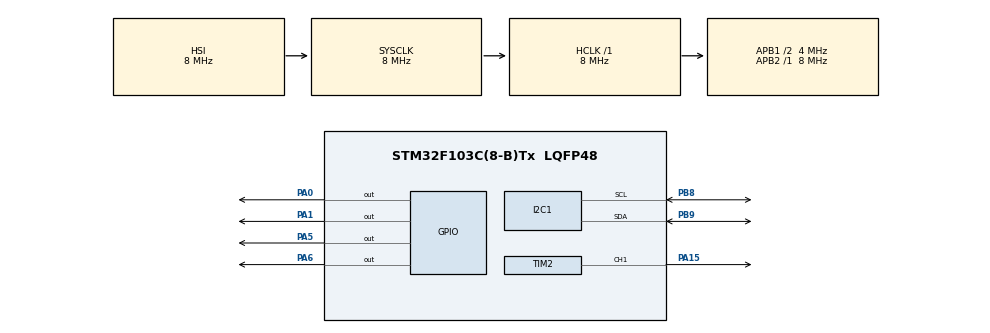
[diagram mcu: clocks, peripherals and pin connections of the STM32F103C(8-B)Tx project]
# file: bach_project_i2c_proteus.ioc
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Mcu.Family=STM32F1
Mcu.Name=STM32F103C(8-B)Tx
Mcu.Package=LQFP48
NVIC.PriorityGroup=NVIC_PRIORITYGROUP_4
PA0-WKUP.GPIO_ModeDefaultOutputPP=GPIO_MODE_OUTPUT_OD
PA0-WKUP.GPIO_PuPd=GPIO_PULLUP
PA0-WKUP.GPIO_Speed=GPIO_SPEED_FREQ_HIGH
PA0-WKUP.PinState=GPIO_PIN_RESET
PA0-WKUP.Signal=GPIO_Output
PA1.GPIO_ModeDefaultOutputPP=GPIO_MODE_OUTPUT_OD
PA1.GPIO_PuPd=GPIO_PULLUP
PA1.GPIO_Speed=GPIO_SPEED_FREQ_HIGH
PA1.PinState=GPIO_PIN_RESET
PA1.Signal=GPIO_Output
PA13.Mode=Serial_Wire
PA13.Signal=SYS_JTMS-SWDIO
PA14.Mode=Serial_Wire
PA14.Signal=SYS_JTCK-SWCLK
PA15.Signal=S_TIM2_CH1_ETR
PA5.GPIO_ModeDefaultOutputPP=GPIO_MODE_OUTPUT_OD
PA5.GPIO_PuPd=GPIO_PULLUP
PA5.GPIO_Speed=GPIO_SPEED_FREQ_HIGH
PA5.PinState=GPIO_PIN_RESET
PA5.Signal=GPIO_Output
PA6.GPIO_ModeDefaultOutputPP=GPIO_MODE_OUTPUT_OD
PA6.GPIO_PuPd=GPIO_PULLUP
PA6.GPIO_Speed=GPIO_SPEED_FREQ_HIGH
PA6.PinState=GPIO_PIN_RESET
PA6.Signal=GPIO_Output
PB8.Mode=I2C
PB8.Signal=I2C1_SCL
PB9.Mode=I2C
PB9.Signal=I2C1_SDA
ProjectManager.HeapSize=0x200
ProjectManager.StackSize=0x400
ProjectManager.TargetToolchain=MDK-ARM V5.32
RCC.AHBFreq_Value=8000000
RCC.APB1CLKDivider=RCC_HCLK_DIV2
RCC.APB1Freq_Value=4000000
RCC.APB1TimFreq_Value=8000000
RCC.APB2Freq_Value=8000000
RCC.APB2TimFreq_Value=8000000
RCC.HCLKFreq_Value=8000000
RCC.SYSCLKFreq_VALUE=8000000
RCC.USBFreq_Value=8000000
SH.S_TIM2_CH1_ETR.0=TIM2_CH1,PWM Generation1 CH1
TIM1.Period=65535
TIM1.Prescaler=7
TIM2.AutoReloadPreload=TIM_AUTORELOAD_PRELOAD_ENABLE
TIM2.Channel-PWM\ Generation1\ CH1=TIM_CHANNEL_1
TIM2.Period=19999
TIM2.Prescaler=7
VP_TIM1_VS_ClockSourceINT.Mode=Internal
board=custom

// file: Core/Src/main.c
/* USER CODE BEGIN Header */
/**
  ******************************************************************************
  * @file           : main.c
  * @brief          : Main program body
  ******************************************************************************
  * @attention
  *
  * Copyright (c) 2025 STMicroelectronics.
  * All rights reserved.
  *
  * This software is licensed under terms that can be found in the LICENSE file
  * in the root directory of this software component.
  * If no LICENSE file comes with this software, it is provided AS-IS.
  *
  ******************************************************************************
  */
/* USER CODE END Header */
#include "main.h"

/* USER CODE BEGIN Includes */
#include "lcd_soft_i2c.h"
#include "ds1307.h"
#include <stdarg.h>
#include <stdio.h>
#include <string.h>
#include "servo.h"
/* USER CODE END Includes */

I2C_HandleTypeDef hi2c1;

TIM_HandleTypeDef htim1;
TIM_HandleTypeDef htim2;

/* USER CODE BEGIN PV */
Soft_I2C_TypeDef i2c_lcd, i2c_rtc;
I2C_LCD_HandleTypedef lcd;
DS1307_Typedef rtc;
Servo_TypeDef servo;
/* USER CODE END PV */

void SystemClock_Config(void);
static void MX_GPIO_Init(void);
static void MX_I2C1_Init(void);
static void MX_TIM1_Init(void);
static void MX_TIM2_Init(void);

/* USER CODE BEGIN 0 */
char buff_line1[20];
char buff_line2[20];
#define SERVO_GPIO_Port GPIOA
#define SERVO_GPIO_Pin  GPIO_PIN_9
void delay_us(uint32_t us){
    uint32_t start = __HAL_TIM_GET_COUNTER(&htim1);
    while ((__HAL_TIM_GET_COUNTER(&htim1) - start) < us);
}

void Servo_WriteAngle(uint8_t angle){
    if(angle > 180) angle = 180;
    uint16_t pulse_us = 1000 + (angle * 1000) / 180; // 1–2 ms

    HAL_GPIO_WritePin(SERVO_GPIO_Port, SERVO_GPIO_Pin, GPIO_PIN_SET);
    delay_us(pulse_us); // HIGH

    HAL_GPIO_WritePin(SERVO_GPIO_Port, SERVO_GPIO_Pin, GPIO_PIN_RESET);
    delay_us(20000 - pulse_us); // LOW
}

/* USER CODE END 0 */

int main(void)
{

  /* MCU Configuration--------------------------------------------------------*/

  /* Reset of all peripherals, Initializes the Flash interface and the Systick. */
  HAL_Init();

  /* Configure the system clock */
  SystemClock_Config();

  /* Initialize all configured peripherals */
  MX_GPIO_Init();
  MX_I2C1_Init();
  MX_TIM1_Init();
  MX_TIM2_Init();
  /* USER CODE BEGIN 2 */
	i2c_soft_init(&i2c_lcd, GPIOA, GPIO_PIN_0, GPIOA, GPIO_PIN_1);
	i2c_soft_init(&i2c_rtc, GPIOA, GPIO_PIN_5, GPIOA, GPIO_PIN_6);

	DS1307_Init(&rtc, &i2c_rtc, DS1307_ADDRESS);
	DS1307_SetTime(&rtc, 1, 20, 00, 19, 11, 25);
	lcd_init(&lcd, &i2c_lcd, 0x27);

	Servo_Init(&servo, &htim2, TIM_CHANNEL_1);
	Servo_Set(&servo, 90);

  /* USER CODE END 2 */

  /* Infinite loop */
  /* USER CODE BEGIN WHILE */
  while (1)
  {
	  DS1307_GetTime(&rtc);
	  sprintf(buff_line1, "%2d:%2d:%2d", rtc.hour, rtc.minute, rtc.second);
	  sprintf(buff_line2, "%2d-%2d-20%2d", rtc.date, rtc.month, rtc.year);
	  lcd_gotoxy(&lcd, 8, 0);
	  lcd_send_string(&lcd, buff_line1);
	  lcd_gotoxy(&lcd, 6, 1);
	  lcd_send_string(&lcd, buff_line2);

    /* USER CODE END WHILE */

  }
}

void SystemClock_Config(void)
{
  RCC_OscInitTypeDef RCC_OscInitStruct = {0};
  RCC_ClkInitTypeDef RCC_ClkInitStruct = {0};

  /** Initializes the RCC Oscillators according to the specified parameters
  * in the RCC_OscInitTypeDef structure.
  */
  RCC_OscInitStruct.OscillatorType = RCC_OSCILLATORTYPE_HSI;
  RCC_OscInitStruct.HSIState = RCC_HSI_ON;
  RCC_OscInitStruct.HSICalibrationValue = RCC_HSICALIBRATION_DEFAULT;
  RCC_OscInitStruct.PLL.PLLState = RCC_PLL_NONE;
  if (HAL_RCC_OscConfig(&RCC_OscInitStruct) != HAL_OK)
  {
    Error_Handler();
  }

  /** Initializes the CPU, AHB and APB buses clocks
  */
  RCC_ClkInitStruct.ClockType = RCC_CLOCKTYPE_HCLK|RCC_CLOCKTYPE_SYSCLK
                              |RCC_CLOCKTYPE_PCLK1|RCC_CLOCKTYPE_PCLK2;
  RCC_ClkInitStruct.SYSCLKSource = RCC_SYSCLKSOURCE_HSI;
  RCC_ClkInitStruct.AHBCLKDivider = RCC_SYSCLK_DIV1;
  RCC_ClkInitStruct.APB1CLKDivider = RCC_HCLK_DIV2;
  RCC_ClkInitStruct.APB2CLKDivider = RCC_HCLK_DIV1;

  if (HAL_RCC_ClockConfig(&RCC_ClkInitStruct, FLASH_LATENCY_0) != HAL_OK)
  {
    Error_Handler();
  }
}

static void MX_I2C1_Init(void)
{

  hi2c1.Instance = I2C1;
  hi2c1.Init.ClockSpeed = 100000;
  hi2c1.Init.DutyCycle = I2C_DUTYCYCLE_2;
  hi2c1.Init.OwnAddress1 = 0;
  hi2c1.Init.AddressingMode = I2C_ADDRESSINGMODE_7BIT;
  hi2c1.Init.DualAddressMode = I2C_DUALADDRESS_DISABLE;
  hi2c1.Init.OwnAddress2 = 0;
  hi2c1.Init.GeneralCallMode = I2C_GENERALCALL_DISABLE;
  hi2c1.Init.NoStretchMode = I2C_NOSTRETCH_DISABLE;
  if (HAL_I2C_Init(&hi2c1) != HAL_OK)
  {
    Error_Handler();
  }

}

static void MX_TIM1_Init(void)
{

  TIM_ClockConfigTypeDef sClockSourceConfig = {0};
  TIM_MasterConfigTypeDef sMasterConfig = {0};

  htim1.Instance = TIM1;
  htim1.Init.Prescaler = 7;
  htim1.Init.CounterMode = TIM_COUNTERMODE_UP;
  htim1.Init.Period = 65535;
  htim1.Init.ClockDivision = TIM_CLOCKDIVISION_DIV1;
  htim1.Init.RepetitionCounter = 0;
  htim1.Init.AutoReloadPreload = TIM_AUTORELOAD_PRELOAD_DISABLE;
  if (HAL_TIM_Base_Init(&htim1) != HAL_OK)
  {
    Error_Handler();
  }
  sClockSourceConfig.ClockSource = TIM_CLOCKSOURCE_INTERNAL;
  if (HAL_TIM_ConfigClockSource(&htim1, &sClockSourceConfig) != HAL_OK)
  {
    Error_Handler();
  }
  sMasterConfig.MasterOutputTrigger = TIM_TRGO_RESET;
  sMasterConfig.MasterSlaveMode = TIM_MASTERSLAVEMODE_DISABLE;
  if (HAL_TIMEx_MasterConfigSynchronization(&htim1, &sMasterConfig) != HAL_OK)
  {
    Error_Handler();
  }

}

static void MX_TIM2_Init(void)
{

  TIM_MasterConfigTypeDef sMasterConfig = {0};
  TIM_OC_InitTypeDef sConfigOC = {0};

  htim2.Instance = TIM2;
  htim2.Init.Prescaler = 7;
  htim2.Init.CounterMode = TIM_COUNTERMODE_UP;
  htim2.Init.Period = 19999;
  htim2.Init.ClockDivision = TIM_CLOCKDIVISION_DIV1;
  htim2.Init.AutoReloadPreload = TIM_AUTORELOAD_PRELOAD_ENABLE;
  if (HAL_TIM_PWM_Init(&htim2) != HAL_OK)
  {
    Error_Handler();
  }
  sMasterConfig.MasterOutputTrigger = TIM_TRGO_RESET;
  sMasterConfig.MasterSlaveMode = TIM_MASTERSLAVEMODE_DISABLE;
  if (HAL_TIMEx_MasterConfigSynchronization(&htim2, &sMasterConfig) != HAL_OK)
  {
    Error_Handler();
  }
  sConfigOC.OCMode = TIM_OCMODE_PWM1;
  sConfigOC.Pulse = 0;
  sConfigOC.OCPolarity = TIM_OCPOLARITY_HIGH;
  sConfigOC.OCFastMode = TIM_OCFAST_DISABLE;
  if (HAL_TIM_PWM_ConfigChannel(&htim2, &sConfigOC, TIM_CHANNEL_1) != HAL_OK)
  {
    Error_Handler();
  }
  HAL_TIM_MspPostInit(&htim2);

}

static void MX_GPIO_Init(void)
{
  GPIO_InitTypeDef GPIO_InitStruct = {0};

  /* GPIO Ports Clock Enable */
  __HAL_RCC_GPIOA_CLK_ENABLE();
  __HAL_RCC_GPIOB_CLK_ENABLE();

  /*Configure GPIO pin Output Level */
  HAL_GPIO_WritePin(GPIOA, GPIO_PIN_0|GPIO_PIN_1|GPIO_PIN_5|GPIO_PIN_6, GPIO_PIN_RESET);

  /*Configure GPIO pins : PA0 PA1 PA5 PA6 */
  GPIO_InitStruct.Pin = GPIO_PIN_0|GPIO_PIN_1|GPIO_PIN_5|GPIO_PIN_6;
  GPIO_InitStruct.Mode = GPIO_MODE_OUTPUT_OD;
  GPIO_InitStruct.Pull = GPIO_PULLUP;
  GPIO_InitStruct.Speed = GPIO_SPEED_FREQ_HIGH;
  HAL_GPIO_Init(GPIOA, &GPIO_InitStruct);

}

void Error_Handler(void)
{
  __disable_irq();
  while (1)
  {
  }
}
